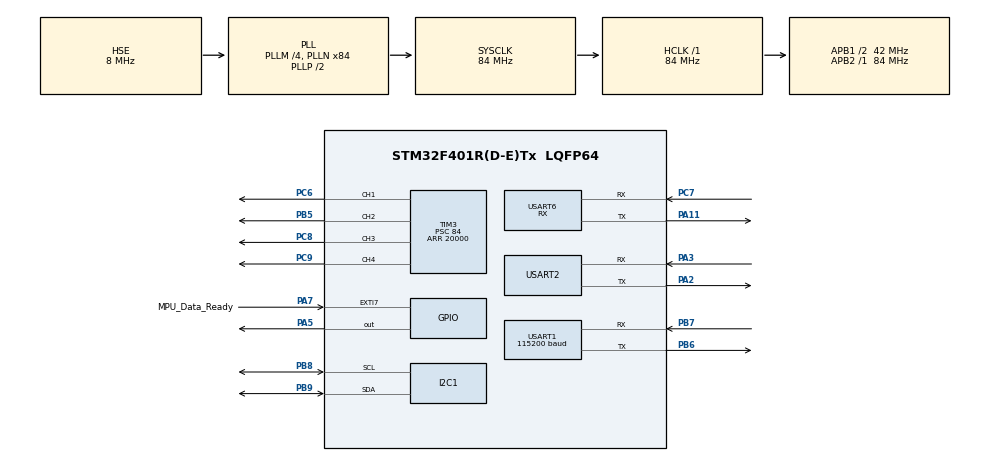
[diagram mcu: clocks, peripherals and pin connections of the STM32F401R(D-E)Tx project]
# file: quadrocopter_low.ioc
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Dma.I2C1_RX.2.Direction=DMA_PERIPH_TO_MEMORY
Dma.I2C1_RX.2.FIFOMode=DMA_FIFOMODE_DISABLE
Dma.I2C1_RX.2.Instance=DMA1_Stream0
Dma.I2C1_RX.2.MemDataAlignment=DMA_MDATAALIGN_BYTE
Dma.I2C1_RX.2.MemInc=DMA_MINC_ENABLE
Dma.I2C1_RX.2.Mode=DMA_NORMAL
Dma.I2C1_RX.2.PeriphDataAlignment=DMA_PDATAALIGN_BYTE
Dma.I2C1_RX.2.PeriphInc=DMA_PINC_DISABLE
Dma.I2C1_RX.2.Priority=DMA_PRIORITY_LOW
Dma.I2C1_TX.3.Direction=DMA_MEMORY_TO_PERIPH
Dma.I2C1_TX.3.FIFOMode=DMA_FIFOMODE_DISABLE
Dma.I2C1_TX.3.Instance=DMA1_Stream6
Dma.I2C1_TX.3.MemDataAlignment=DMA_MDATAALIGN_BYTE
Dma.I2C1_TX.3.MemInc=DMA_MINC_ENABLE
Dma.I2C1_TX.3.Mode=DMA_NORMAL
Dma.I2C1_TX.3.PeriphDataAlignment=DMA_PDATAALIGN_BYTE
Dma.I2C1_TX.3.PeriphInc=DMA_PINC_DISABLE
Dma.I2C1_TX.3.Priority=DMA_PRIORITY_LOW
Dma.Request0=USART6_RX
Dma.Request1=USART1_TX
Dma.Request2=I2C1_RX
Dma.Request3=I2C1_TX
Dma.USART1_TX.1.Direction=DMA_MEMORY_TO_PERIPH
Dma.USART1_TX.1.FIFOMode=DMA_FIFOMODE_DISABLE
Dma.USART1_TX.1.Instance=DMA2_Stream7
Dma.USART1_TX.1.MemDataAlignment=DMA_MDATAALIGN_BYTE
Dma.USART1_TX.1.MemInc=DMA_MINC_ENABLE
Dma.USART1_TX.1.Mode=DMA_NORMAL
Dma.USART1_TX.1.PeriphDataAlignment=DMA_PDATAALIGN_BYTE
Dma.USART1_TX.1.PeriphInc=DMA_PINC_DISABLE
Dma.USART1_TX.1.Priority=DMA_PRIORITY_LOW
Dma.USART6_RX.0.Direction=DMA_PERIPH_TO_MEMORY
Dma.USART6_RX.0.FIFOMode=DMA_FIFOMODE_DISABLE
Dma.USART6_RX.0.Instance=DMA2_Stream1
Dma.USART6_RX.0.MemDataAlignment=DMA_MDATAALIGN_BYTE
Dma.USART6_RX.0.MemInc=DMA_MINC_ENABLE
Dma.USART6_RX.0.Mode=DMA_NORMAL
Dma.USART6_RX.0.PeriphDataAlignment=DMA_PDATAALIGN_BYTE
Dma.USART6_RX.0.PeriphInc=DMA_PINC_DISABLE
Dma.USART6_RX.0.Priority=DMA_PRIORITY_LOW
FREERTOS.Events01=newSensorDataAvailable,Dynamic,NULL;newDataAvailableForController,Dynamic,NULL;newUARTDataAvailable,Dynamic,NULL;debuggUARTisFree,Dynamic,NULL;i2cDataRecieved,Dynamic,NULL;i2cDataTransmitted,Dynamic,NULL;i2cMemTransmitted,Dynamic,NULL
FREERTOS.HEAP_NUMBER=4
FREERTOS.Queues01=sensorData,100,sensor_data_type,0,Dynamic,NULL,NULL;controllData,100,controll_data_type,0,Dynamic,NULL,NULL;controllMasterData,100,ControllSignal_data_type,0,Dynamic,NULL,NULL
FREERTOS.Tasks01=sensorProcessin,27,300,StartSensorProcessingTask,Default,NULL,Dynamic,NULL,NULL;motorDriver,29,300,StartMotorDriverTask,Default,NULL,Dynamic,NULL,NULL;controllerTask,20,300,StartControllerTask,Default,NULL,Dynamic,NULL,NULL;controllMaster,38,128,StartControllMaster,Default,NULL,Dynamic,NULL,NULL;UARTLogger,16,128,StartUARTLogger,Default,NULL,Dynamic,NULL,NULL
FREERTOS.configCHECK_FOR_STACK_OVERFLOW=2
FREERTOS.configENABLE_FPU=1
FREERTOS.configGENERATE_RUN_TIME_STATS=1
FREERTOS.configRECORD_STACK_HIGH_ADDRESS=1
FREERTOS.configTOTAL_HEAP_SIZE=0x3c00
FREERTOS.configUSE_DAEMON_TASK_STARTUP_HOOK=0
FREERTOS.configUSE_IDLE_HOOK=1
FREERTOS.configUSE_MALLOC_FAILED_HOOK=1
FREERTOS.configUSE_STATS_FORMATTING_FUNCTIONS=1
FREERTOS.configUSE_TRACE_FACILITY=1
Mcu.Family=STM32F4
Mcu.Name=STM32F401R(D-E)Tx
Mcu.Package=LQFP64
NVIC.DMA1_Stream0_IRQn=true\:5\:0\:false\:false\:true\:true\:false\:true\:true
NVIC.DMA1_Stream6_IRQn=true\:5\:0\:false\:false\:true\:true\:false\:true\:true
NVIC.DMA2_Stream1_IRQn=true\:5\:0\:false\:false\:true\:true\:false\:true\:true
NVIC.DMA2_Stream7_IRQn=true\:5\:0\:false\:false\:true\:true\:false\:true\:true
NVIC.EXTI9_5_IRQn=true\:5\:0\:false\:false\:true\:true\:true\:true\:true
NVIC.I2C1_ER_IRQn=true\:5\:0\:false\:false\:true\:true\:true\:true\:true
NVIC.I2C1_EV_IRQn=true\:5\:0\:false\:false\:true\:true\:true\:true\:true
NVIC.PriorityGroup=NVIC_PRIORITYGROUP_4
NVIC.TIM1_TRG_COM_TIM11_IRQn=true\:5\:0\:false\:false\:true\:true\:true\:true\:true
NVIC.TIM1_UP_TIM10_IRQn=true\:15\:0\:true\:false\:true\:false\:false\:true\:true
NVIC.TimeBase=TIM1_UP_TIM10_IRQn
NVIC.TimeBaseIP=TIM10
NVIC.USART1_IRQn=true\:5\:0\:false\:false\:true\:true\:true\:true\:true
NVIC.USART2_IRQn=true\:5\:0\:true\:false\:true\:true\:true\:true\:true
NVIC.USART6_IRQn=true\:5\:0\:true\:false\:true\:true\:true\:true\:true
PA11.Mode=Asynchronous
PA11.Signal=USART6_TX
PA13.Mode=Serial_Wire
PA13.Signal=SYS_JTMS-SWDIO
PA14.Mode=Serial_Wire
PA14.Signal=SYS_JTCK-SWCLK
PA2.Mode=Asynchronous
PA2.Signal=USART2_TX
PA3.Mode=Asynchronous
PA3.Signal=USART2_RX
PA5.Signal=GPIO_Output
PA7.GPIO_Label=MPU_Data_Ready
PA7.Signal=GPXTI7
PB5.Signal=S_TIM3_CH2
PB6.Mode=Asynchronous
PB6.Signal=USART1_TX
PB7.Mode=Asynchronous
PB7.Signal=USART1_RX
PB8.Mode=I2C
PB8.Signal=I2C1_SCL
PB9.Mode=I2C
PB9.Signal=I2C1_SDA
PC14-OSC32_IN.Mode=LSE-External-Oscillator
PC14-OSC32_IN.Signal=RCC_OSC32_IN
PC15-OSC32_OUT.Mode=LSE-External-Oscillator
PC15-OSC32_OUT.Signal=RCC_OSC32_OUT
PC6.Signal=S_TIM3_CH1
PC7.Mode=Asynchronous
PC7.Signal=USART6_RX
PC8.Signal=S_TIM3_CH3
PC9.Signal=S_TIM3_CH4
PH0\ -\ OSC_IN.Mode=HSE-External-Clock-Source
PH0\ -\ OSC_IN.Signal=RCC_OSC_IN
PH1\ -\ OSC_OUT.Mode=HSE-External-Clock-Source
PH1\ -\ OSC_OUT.Signal=RCC_OSC_OUT
ProjectManager.HeapSize=0x200
ProjectManager.StackSize=0x400
ProjectManager.TargetToolchain=CMake
RCC.48MHZClocksFreq_Value=42000000
RCC.AHBFreq_Value=84000000
RCC.APB1CLKDivider=RCC_HCLK_DIV2
RCC.APB1Freq_Value=42000000
RCC.APB1TimFreq_Value=84000000
RCC.APB2Freq_Value=84000000
RCC.APB2TimFreq_Value=84000000
RCC.CortexFreq_Value=84000000
RCC.HCLKFreq_Value=84000000
RCC.HSE_Timout=2000
RCC.HSE_VALUE=8000000
RCC.HSI_VALUE=16000000
RCC.PLLM=4
RCC.PLLN=84
RCC.PLLSourceVirtual=RCC_PLLSOURCE_HSE
RCC.RCC_RTC_Clock_Source=RCC_RTCCLKSOURCE_LSI
RCC.RCC_RTC_Clock_SourceVirtual=RCC_RTCCLKSOURCE_LSI
RCC.SYSCLKFreq_VALUE=84000000
RCC.SYSCLKSource=RCC_SYSCLKSOURCE_PLLCLK
RCC.VCOOutputFreq_Value=168000000
SH.S_TIM3_CH1.0=TIM3_CH1,PWM Generation1 CH1
SH.S_TIM3_CH2.0=TIM3_CH2,PWM Generation2 CH2
SH.S_TIM3_CH3.0=TIM3_CH3,PWM Generation3 CH3
SH.S_TIM3_CH4.0=TIM3_CH4,PWM Generation4 CH4
TIM11.Period=839
TIM11.Prescaler=1
TIM3.Channel-PWM\ Generation1\ CH1=TIM_CHANNEL_1
TIM3.Channel-PWM\ Generation2\ CH2=TIM_CHANNEL_2
TIM3.Channel-PWM\ Generation3\ CH3=TIM_CHANNEL_3
TIM3.Channel-PWM\ Generation4\ CH4=TIM_CHANNEL_4
TIM3.Period=20000
TIM3.Prescaler=84
TIM3.Pulse-PWM\ Generation1\ CH1=1000
TIM3.Pulse-PWM\ Generation2\ CH2=1000
TIM3.Pulse-PWM\ Generation3\ CH3=1000
TIM3.Pulse-PWM\ Generation4\ CH4=1000
USART1.BaudRate=115200
USART1.VirtualMode=VM_ASYNC
USART2.VirtualMode=VM_ASYNC
USART6.Mode=MODE_RX
USART6.VirtualMode=VM_ASYNC
VP_FREERTOS_VS_CMSIS_V2.Mode=CMSIS_V2
VP_SYS_VS_tim10.Mode=TIM10
VP_TIM11_VS_ClockSourceINT.Mode=Enable_Timer
board=custom

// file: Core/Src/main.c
/* USER CODE BEGIN Header */
/**
  ******************************************************************************
  * @file           : main.c
  * @brief          : Main program body
  ******************************************************************************
  * @attention
  *
  * Copyright (c) 2024 STMicroelectronics.
  * All rights reserved.
  *
  * This software is licensed under terms that can be found in the LICENSE file
  * in the root directory of this software component.
  * If no LICENSE file comes with this software, it is provided AS-IS.
  *
  ******************************************************************************
  */
#include "sensor_master.hpp"
extern "C"
{
/* USER CODE END Header */
#include "main.h"
#include "cmsis_os.h"

/* USER CODE BEGIN Includes */
}
#include "PID.hpp"
#include "parameters.hpp"
#include "data_types.hpp"
#include "controll_master.hpp"
#include "motor_controller.hpp"
/* USER CODE END Includes */

/* USER CODE BEGIN PM */
//#define UART_DEBUGG
/* USER CODE END PM */

I2C_HandleTypeDef hi2c1;
DMA_HandleTypeDef hdma_i2c1_rx;
DMA_HandleTypeDef hdma_i2c1_tx;

TIM_HandleTypeDef htim3;
TIM_HandleTypeDef htim11;

UART_HandleTypeDef huart1;
UART_HandleTypeDef huart2;
UART_HandleTypeDef huart6;
DMA_HandleTypeDef hdma_usart1_tx;
DMA_HandleTypeDef hdma_usart6_rx;

/* Definitions for sensorProcessin */
osThreadId_t sensorProcessinHandle;
const osThreadAttr_t sensorProcessin_attributes = {
  .name = "sensorProcessin",
  .stack_size = 300 * 4,
  .priority = (osPriority_t) osPriorityNormal3,
};
/* Definitions for motorDriver */
osThreadId_t motorDriverHandle;
const osThreadAttr_t motorDriver_attributes = {
  .name = "motorDriver",
  .stack_size = 300 * 4,
  .priority = (osPriority_t) osPriorityNormal5,
};
/* Definitions for controllerTask */
osThreadId_t controllerTaskHandle;
const osThreadAttr_t controllerTask_attributes = {
  .name = "controllerTask",
  .stack_size = 300 * 4,
  .priority = (osPriority_t) osPriorityBelowNormal4,
};
/* Definitions for controllMaster */
osThreadId_t controllMasterHandle;
const osThreadAttr_t controllMaster_attributes = {
  .name = "controllMaster",
  .stack_size = 128 * 4,
  .priority = (osPriority_t) osPriorityAboveNormal6,
};
/* Definitions for UARTLogger */
osThreadId_t UARTLoggerHandle;
const osThreadAttr_t UARTLogger_attributes = {
  .name = "UARTLogger",
  .stack_size = 128 * 4,
  .priority = (osPriority_t) osPriorityBelowNormal,
};
/* Definitions for sensorData */
osMessageQueueId_t sensorDataHandle;
const osMessageQueueAttr_t sensorData_attributes = {
  .name = "sensorData"
};
/* Definitions for controllData */
osMessageQueueId_t controllDataHandle;
const osMessageQueueAttr_t controllData_attributes = {
  .name = "controllData"
};
/* Definitions for controllMasterData */
osMessageQueueId_t controllMasterDataHandle;
const osMessageQueueAttr_t controllMasterData_attributes = {
  .name = "controllMasterData"
};
/* Definitions for newSensorDataAvailable */
osEventFlagsId_t newSensorDataAvailableHandle;
const osEventFlagsAttr_t newSensorDataAvailable_attributes = {
  .name = "newSensorDataAvailable"
};
/* Definitions for newDataAvailableForController */
osEventFlagsId_t newDataAvailableForControllerHandle;
const osEventFlagsAttr_t newDataAvailableForController_attributes = {
  .name = "newDataAvailableForController"
};
/* Definitions for newUARTDataAvailable */
osEventFlagsId_t newUARTDataAvailableHandle;
const osEventFlagsAttr_t newUARTDataAvailable_attributes = {
  .name = "newUARTDataAvailable"
};
/* Definitions for debuggUARTisFree */
osEventFlagsId_t debuggUARTisFreeHandle;
const osEventFlagsAttr_t debuggUARTisFree_attributes = {
  .name = "debuggUARTisFree"
};
/* Definitions for i2cDataRecieved */
osEventFlagsId_t i2cDataRecievedHandle;
const osEventFlagsAttr_t i2cDataRecieved_attributes = {
  .name = "i2cDataRecieved"
};
/* Definitions for i2cDataTransmitted */
osEventFlagsId_t i2cDataTransmittedHandle;
const osEventFlagsAttr_t i2cDataTransmitted_attributes = {
  .name = "i2cDataTransmitted"
};
/* Definitions for i2cMemTransmitted */
osEventFlagsId_t i2cMemTransmittedHandle;
const osEventFlagsAttr_t i2cMemTransmitted_attributes = {
  .name = "i2cMemTransmitted"
};

void SystemClock_Config(void);
static void MX_DMA_Init(void);
static void MX_GPIO_Init(void);
static void MX_I2C1_Init(void);
static void MX_TIM3_Init(void);
static void MX_USART6_UART_Init(void);
static void MX_USART2_UART_Init(void);
static void MX_USART1_UART_Init(void);
static void MX_TIM11_Init(void);
void StartSensorProcessingTask(void *argument);
void StartMotorDriverTask(void *argument);
void StartControllerTask(void *argument);
void StartControllMaster(void *argument);
void StartUARTLogger(void *argument);

int main(void)
{

  /* MCU Configuration--------------------------------------------------------*/

  /* Reset of all peripherals, Initializes the Flash interface and the Systick. */
  HAL_Init();

  /* Configure the system clock */
  SystemClock_Config();

  /* Initialize all configured peripherals */
  MX_DMA_Init();
  MX_GPIO_Init();
  MX_I2C1_Init();
  MX_TIM3_Init();
  MX_USART6_UART_Init();
  MX_USART2_UART_Init();
  MX_USART1_UART_Init();
  MX_TIM11_Init();

  /* Init scheduler */
  osKernelInitialize();

  /* Create the queue(s) */
  /* creation of sensorData */
  sensorDataHandle = osMessageQueueNew (100, sizeof(sensor_data_type), &sensorData_attributes);

  /* creation of controllData */
  controllDataHandle = osMessageQueueNew (100, sizeof(controll_data_type), &controllData_attributes);

  /* creation of controllMasterData */
  controllMasterDataHandle = osMessageQueueNew (100, sizeof(ControllSignal_data_type), &controllMasterData_attributes);

  /* Create the thread(s) */
  /* creation of sensorProcessin */
  sensorProcessinHandle = osThreadNew(StartSensorProcessingTask, NULL, &sensorProcessin_attributes);

  /* creation of motorDriver */
  motorDriverHandle = osThreadNew(StartMotorDriverTask, NULL, &motorDriver_attributes);

  /* creation of controllerTask */
  controllerTaskHandle = osThreadNew(StartControllerTask, NULL, &controllerTask_attributes);

  /* creation of controllMaster */
  controllMasterHandle = osThreadNew(StartControllMaster, NULL, &controllMaster_attributes);

  /* creation of UARTLogger */
  UARTLoggerHandle = osThreadNew(StartUARTLogger, NULL, &UARTLogger_attributes);

  /* Create the event(s) */
  /* creation of newSensorDataAvailable */
  newSensorDataAvailableHandle = osEventFlagsNew(&newSensorDataAvailable_attributes);

  /* creation of newDataAvailableForController */
  newDataAvailableForControllerHandle = osEventFlagsNew(&newDataAvailableForController_attributes);

  /* creation of newUARTDataAvailable */
  newUARTDataAvailableHandle = osEventFlagsNew(&newUARTDataAvailable_attributes);

  /* creation of debuggUARTisFree */
  debuggUARTisFreeHandle = osEventFlagsNew(&debuggUARTisFree_attributes);

  /* creation of i2cDataRecieved */
  i2cDataRecievedHandle = osEventFlagsNew(&i2cDataRecieved_attributes);

  /* creation of i2cDataTransmitted */
  i2cDataTransmittedHandle = osEventFlagsNew(&i2cDataTransmitted_attributes);

  /* creation of i2cMemTransmitted */
  i2cMemTransmittedHandle = osEventFlagsNew(&i2cMemTransmitted_attributes);

  /* Start scheduler */
  osKernelStart();

  /* We should never get here as control is now taken by the scheduler */

  /* Infinite loop */
  while (1)
  {

  }
}

void SystemClock_Config(void)
{
  RCC_OscInitTypeDef RCC_OscInitStruct = {0};
  RCC_ClkInitTypeDef RCC_ClkInitStruct = {0};

  /** Configure the main internal regulator output voltage
  */
  __HAL_RCC_PWR_CLK_ENABLE();
  __HAL_PWR_VOLTAGESCALING_CONFIG(PWR_REGULATOR_VOLTAGE_SCALE2);

  /** Initializes the RCC Oscillators according to the specified parameters
  * in the RCC_OscInitTypeDef structure.
  */
  RCC_OscInitStruct.OscillatorType = RCC_OSCILLATORTYPE_HSE;
  RCC_OscInitStruct.HSEState = RCC_HSE_BYPASS;
  RCC_OscInitStruct.PLL.PLLState = RCC_PLL_ON;
  RCC_OscInitStruct.PLL.PLLSource = RCC_PLLSOURCE_HSE;
  RCC_OscInitStruct.PLL.PLLM = 4;
  RCC_OscInitStruct.PLL.PLLN = 84;
  RCC_OscInitStruct.PLL.PLLP = RCC_PLLP_DIV2;
  RCC_OscInitStruct.PLL.PLLQ = 4;
  if (HAL_RCC_OscConfig(&RCC_OscInitStruct) != HAL_OK)
  {
    Error_Handler();
  }

  /** Initializes the CPU, AHB and APB buses clocks
  */
  RCC_ClkInitStruct.ClockType = RCC_CLOCKTYPE_HCLK|RCC_CLOCKTYPE_SYSCLK
                              |RCC_CLOCKTYPE_PCLK1|RCC_CLOCKTYPE_PCLK2;
  RCC_ClkInitStruct.SYSCLKSource = RCC_SYSCLKSOURCE_PLLCLK;
  RCC_ClkInitStruct.AHBCLKDivider = RCC_SYSCLK_DIV1;
  RCC_ClkInitStruct.APB1CLKDivider = RCC_HCLK_DIV2;
  RCC_ClkInitStruct.APB2CLKDivider = RCC_HCLK_DIV1;

  if (HAL_RCC_ClockConfig(&RCC_ClkInitStruct, FLASH_LATENCY_2) != HAL_OK)
  {
    Error_Handler();
  }
}

static void MX_I2C1_Init(void)
{

  hi2c1.Instance = I2C1;
  hi2c1.Init.ClockSpeed = 100000;
  hi2c1.Init.DutyCycle = I2C_DUTYCYCLE_2;
  hi2c1.Init.OwnAddress1 = 0;
  hi2c1.Init.AddressingMode = I2C_ADDRESSINGMODE_7BIT;
  hi2c1.Init.DualAddressMode = I2C_DUALADDRESS_DISABLE;
  hi2c1.Init.OwnAddress2 = 0;
  hi2c1.Init.GeneralCallMode = I2C_GENERALCALL_DISABLE;
  hi2c1.Init.NoStretchMode = I2C_NOSTRETCH_DISABLE;
  if (HAL_I2C_Init(&hi2c1) != HAL_OK)
  {
    Error_Handler();
  }

}

static void MX_TIM3_Init(void)
{

  TIM_MasterConfigTypeDef sMasterConfig = {0};
  TIM_OC_InitTypeDef sConfigOC = {0};

  htim3.Instance = TIM3;
  htim3.Init.Prescaler = 84;
  htim3.Init.CounterMode = TIM_COUNTERMODE_UP;
  htim3.Init.Period = 20000;
  htim3.Init.ClockDivision = TIM_CLOCKDIVISION_DIV1;
  htim3.Init.AutoReloadPreload = TIM_AUTORELOAD_PRELOAD_DISABLE;
  if (HAL_TIM_PWM_Init(&htim3) != HAL_OK)
  {
    Error_Handler();
  }
  sMasterConfig.MasterOutputTrigger = TIM_TRGO_RESET;
  sMasterConfig.MasterSlaveMode = TIM_MASTERSLAVEMODE_DISABLE;
  if (HAL_TIMEx_MasterConfigSynchronization(&htim3, &sMasterConfig) != HAL_OK)
  {
    Error_Handler();
  }
  sConfigOC.OCMode = TIM_OCMODE_PWM1;
  sConfigOC.Pulse = 1000;
  sConfigOC.OCPolarity = TIM_OCPOLARITY_HIGH;
  sConfigOC.OCFastMode = TIM_OCFAST_DISABLE;
  if (HAL_TIM_PWM_ConfigChannel(&htim3, &sConfigOC, TIM_CHANNEL_1) != HAL_OK)
  {
    Error_Handler();
  }
  if (HAL_TIM_PWM_ConfigChannel(&htim3, &sConfigOC, TIM_CHANNEL_2) != HAL_OK)
  {
    Error_Handler();
  }
  if (HAL_TIM_PWM_ConfigChannel(&htim3, &sConfigOC, TIM_CHANNEL_3) != HAL_OK)
  {
    Error_Handler();
  }
  if (HAL_TIM_PWM_ConfigChannel(&htim3, &sConfigOC, TIM_CHANNEL_4) != HAL_OK)
  {
    Error_Handler();
  }
  HAL_TIM_MspPostInit(&htim3);

}

static void MX_TIM11_Init(void)
{

  htim11.Instance = TIM11;
  htim11.Init.Prescaler = 1;
  htim11.Init.CounterMode = TIM_COUNTERMODE_UP;
  htim11.Init.Period = 839;
  htim11.Init.ClockDivision = TIM_CLOCKDIVISION_DIV1;
  htim11.Init.AutoReloadPreload = TIM_AUTORELOAD_PRELOAD_DISABLE;
  if (HAL_TIM_Base_Init(&htim11) != HAL_OK)
  {
    Error_Handler();
  }

}

static void MX_USART1_UART_Init(void)
{

  huart1.Instance = USART1;
  huart1.Init.BaudRate = 115200;
  huart1.Init.WordLength = UART_WORDLENGTH_8B;
  huart1.Init.StopBits = UART_STOPBITS_1;
  huart1.Init.Parity = UART_PARITY_NONE;
  huart1.Init.Mode = UART_MODE_TX_RX;
  huart1.Init.HwFlowCtl = UART_HWCONTROL_NONE;
  huart1.Init.OverSampling = UART_OVERSAMPLING_16;
  if (HAL_UART_Init(&huart1) != HAL_OK)
  {
    Error_Handler();
  }

}

static void MX_USART2_UART_Init(void)
{

  huart2.Instance = USART2;
  huart2.Init.BaudRate = 115200;
  huart2.Init.WordLength = UART_WORDLENGTH_8B;
  huart2.Init.StopBits = UART_STOPBITS_1;
  huart2.Init.Parity = UART_PARITY_NONE;
  huart2.Init.Mode = UART_MODE_TX_RX;
  huart2.Init.HwFlowCtl = UART_HWCONTROL_NONE;
  huart2.Init.OverSampling = UART_OVERSAMPLING_16;
  if (HAL_UART_Init(&huart2) != HAL_OK)
  {
    Error_Handler();
  }

}

static void MX_USART6_UART_Init(void)
{

  huart6.Instance = USART6;
  huart6.Init.BaudRate = 115200;
  huart6.Init.WordLength = UART_WORDLENGTH_8B;
  huart6.Init.StopBits = UART_STOPBITS_1;
  huart6.Init.Parity = UART_PARITY_NONE;
  huart6.Init.Mode = UART_MODE_RX;
  huart6.Init.HwFlowCtl = UART_HWCONTROL_NONE;
  huart6.Init.OverSampling = UART_OVERSAMPLING_16;
  if (HAL_UART_Init(&huart6) != HAL_OK)
  {
    Error_Handler();
  }

}

static void MX_DMA_Init(void)
{

  /* DMA controller clock enable */
  __HAL_RCC_DMA2_CLK_ENABLE();
  __HAL_RCC_DMA1_CLK_ENABLE();

  /* DMA interrupt init */
  /* DMA1_Stream0_IRQn interrupt configuration */
  HAL_NVIC_SetPriority(DMA1_Stream0_IRQn, 5, 0);
  HAL_NVIC_EnableIRQ(DMA1_Stream0_IRQn);
  /* DMA1_Stream6_IRQn interrupt configuration */
  HAL_NVIC_SetPriority(DMA1_Stream6_IRQn, 5, 0);
  HAL_NVIC_EnableIRQ(DMA1_Stream6_IRQn);
  /* DMA2_Stream1_IRQn interrupt configuration */
  HAL_NVIC_SetPriority(DMA2_Stream1_IRQn, 5, 0);
  HAL_NVIC_EnableIRQ(DMA2_Stream1_IRQn);
  /* DMA2_Stream7_IRQn interrupt configuration */
  HAL_NVIC_SetPriority(DMA2_Stream7_IRQn, 5, 0);
  HAL_NVIC_EnableIRQ(DMA2_Stream7_IRQn);

}

static void MX_GPIO_Init(void)
{
  GPIO_InitTypeDef GPIO_InitStruct = {0};

  /* GPIO Ports Clock Enable */
  __HAL_RCC_GPIOC_CLK_ENABLE();
  __HAL_RCC_GPIOH_CLK_ENABLE();
  __HAL_RCC_GPIOA_CLK_ENABLE();
  __HAL_RCC_GPIOB_CLK_ENABLE();

  /*Configure GPIO pin Output Level */
  HAL_GPIO_WritePin(GPIOA, GPIO_PIN_5, GPIO_PIN_RESET);

  /*Configure GPIO pin : PA5 */
  GPIO_InitStruct.Pin = GPIO_PIN_5;
  GPIO_InitStruct.Mode = GPIO_MODE_OUTPUT_PP;
  GPIO_InitStruct.Pull = GPIO_NOPULL;
  GPIO_InitStruct.Speed = GPIO_SPEED_FREQ_LOW;
  HAL_GPIO_Init(GPIOA, &GPIO_InitStruct);

  /*Configure GPIO pin : MPU_Data_Ready_Pin */
  GPIO_InitStruct.Pin = MPU_Data_Ready_Pin;
  GPIO_InitStruct.Mode = GPIO_MODE_IT_RISING;
  GPIO_InitStruct.Pull = GPIO_NOPULL;
  HAL_GPIO_Init(MPU_Data_Ready_GPIO_Port, &GPIO_InitStruct);

  /* EXTI interrupt init*/
  HAL_NVIC_SetPriority(EXTI9_5_IRQn, 5, 0);
  HAL_NVIC_EnableIRQ(EXTI9_5_IRQn);

}

/* USER CODE BEGIN 4 */
void HAL_GPIO_EXTI_Callback(uint16_t GPIO_Pin)
{
  if(newSensorDataAvailableHandle != NULL)
  {
    osEventFlagsSet(newSensorDataAvailableHandle, 0x00000001U);
  }
}

static uint32_t GPIO_UART_ALIVE_LED = 0;

uint8_t Rx_data[50];
void HAL_UART_RxCpltCallback(UART_HandleTypeDef *huart)
{
  if (huart == &huart6)
  {
    if (GPIO_UART_ALIVE_LED == 60)
    {
      HAL_GPIO_TogglePin (GPIOA, GPIO_PIN_5);
      GPIO_UART_ALIVE_LED =0;
    }
    else
    {
        GPIO_UART_ALIVE_LED++;
    }
    if(newUARTDataAvailableHandle != NULL)
    {
      osEventFlagsSet(newUARTDataAvailableHandle, 0x00000001U);
    }
  }

}

void HAL_UART_TxCpltCallback(UART_HandleTypeDef *huart)
{
    if(debuggUARTisFreeHandle != NULL)
    {
      osEventFlagsSet(debuggUARTisFreeHandle, 0x00000001U);
    }
}

void HAL_I2C_MasterTxCpltCallback(I2C_HandleTypeDef *I2cHandle)
{
  if(i2cDataTransmittedHandle != NULL)
  {
    osEventFlagsSet(i2cDataTransmittedHandle, 0x00000001U);
  }

}

void HAL_I2C_MasterRxCpltCallback(I2C_HandleTypeDef *I2cHandle)
{
  if(i2cDataRecievedHandle != NULL)
  {
    osEventFlagsSet(i2cDataRecievedHandle, 0x00000001U);
  }
}

void HAL_I2C_MemTxCpltCallback(I2C_HandleTypeDef *I2cHandle)
{
  if(i2cMemTransmittedHandle != NULL)
  {
    osEventFlagsSet(i2cMemTransmittedHandle, 0x00000001U);
  }
}

/* USER CODE END 4 */

/* USER CODE BEGIN Header_StartSensorProcessingTask */
/**
  * @brief  Function implementing the sensorProcessin thread.
  * @param  argument: Not used
  * @retval None
  */
  sensor_data_type servo_angle_for_queue;
/* USER CODE END Header_StartSensorProcessingTask */
void StartSensorProcessingTask(void *argument)
{
  /* USER CODE BEGIN 5 */
  sensormaster::SensorProcessing sensor_processor(&hi2c1);
  for(;;)
  {
    uint16_t newSensorDataReady;
    osEventFlagsWait(newSensorDataAvailableHandle, 0x00000001U, osFlagsWaitAny, osWaitForever);

    servo_angle_for_queue.sampple_time = HAL_GetTick();
    sensor_processor.sensor_data_processing();

    servo_angle_for_queue.angle_pitch   = SENSOR_OFFSET + sensor_processor.get_filtered_angle_x();
    servo_angle_for_queue.angle_roll    = SENSOR_OFFSET + sensor_processor.get_filtered_angle_y();

    //TODO Fix the magnetometer config
    // sensor_processor.magnetometer_sensor_data_processing();
    // servo_angle_for_queue.angle_yaw = sensor_processor.get_magnetometer_yaw();

    // to do cleamn up

    osMessageQueuePut(sensorDataHandle, &servo_angle_for_queue, 0U, 1000);

    if(newDataAvailableForControllerHandle != NULL)
    {
      osEventFlagsSet(newDataAvailableForControllerHandle, NEW_DATA_FORM_SENSOR);
    }
  }
  /* USER CODE END 5 */
}

/* USER CODE BEGIN Header_StartMotorDriverTask */
/**
* @brief Function implementing the motorDriver thread.
* @param argument: Not used
* @retval None
*/
uint16_t debug_var = 0;
/* USER CODE END Header_StartMotorDriverTask */
void StartMotorDriverTask(void *argument)
{
  /* USER CODE BEGIN StartMotorDriverTask */
  /* Infinite loop */
  HAL_TIM_PWM_Start(&htim3, TIM_CHANNEL_1);
  HAL_TIM_PWM_Start(&htim3, TIM_CHANNEL_2);
  HAL_TIM_PWM_Start(&htim3, TIM_CHANNEL_3);
  HAL_TIM_PWM_Start(&htim3, TIM_CHANNEL_4);
  motor_controller::Motor_controller motor_calculation_master;
  #ifdef UART_DEBUGG
    UartLogger* Logger =  UartLogger::getUartLoggerSingeleton(&huart1);
  #endif

  for(;;)
  {
    controll_data_type controll_Date_from_queue;
    osMessageQueueGet(controllDataHandle, &controll_Date_from_queue, NULL, 1000);

    bldc_driver_data_type bldc_driver = motor_calculation_master.update_motor_driver(controll_Date_from_queue);

    #ifdef UART_DEBUGG
      Logger->add_data_logger("\n\rM1");
      Logger->add_data_logger(int32_t (MOTOR_IDDLE_TICK + bldc_driver.motor_1));
      Logger->add_data_logger("\n\rM2");
      Logger->add_data_logger(int32_t (MOTOR_IDDLE_TICK + bldc_driver.motor_2));
      Logger->add_data_logger("\n\rM3");
      Logger->add_data_logger(int32_t (MOTOR_IDDLE_TICK + bldc_driver.motor_3));
      Logger->add_data_logger("\n\rM4");
      Logger->add_data_logger(int32_t (MOTOR_IDDLE_TICK + bldc_driver.motor_4));
    #endif

    __HAL_TIM_SetCompare(&htim3, TIM_CHANNEL_1, MOTOR_IDDLE_TICK + bldc_driver.motor_1);
    __HAL_TIM_SetCompare(&htim3, TIM_CHANNEL_2, MOTOR_IDDLE_TICK + bldc_driver.motor_2);
    __HAL_TIM_SetCompare(&htim3, TIM_CHANNEL_3, MOTOR_IDDLE_TICK + bldc_driver.motor_3);
    __HAL_TIM_SetCompare(&htim3, TIM_CHANNEL_4, MOTOR_IDDLE_TICK + bldc_driver.motor_4);
  }
  /* USER CODE END StartMotorDriverTask */
}

/* USER CODE BEGIN Header_StartControllerTask */
/**
* @brief Function implementing the controllerTask thread.
* @param argument: Not used
* @retval None
*/
controll_data_type contrull_Data_for_queue;
ControllSignal_data_type decoded_UART_message_from_queue;
sensor_data_type servo_angle_from_queue_buffer;
sensor_data_type servo_angle_from_queue;
float sampple_time_buffer;
/* USER CODE END Header_StartControllerTask */
void StartControllerTask(void *argument)
{
   /* USER CODE BEGIN StartcontrollerTask */
  PID_controller PID_pitch(PITCH_P,PITCH_I,PITCH_D, HAL_GetTick());
  PID_controller PID_roll(ROLL_P,ROLL_I,ROLL_D, HAL_GetTick());
  PID_controller_yaw PID_yaw(YAW_P,YAW_I,YAW_D, HAL_GetTick());
  #ifdef UART_DEBUGG
    UartLogger* Logger =  UartLogger::getUartLoggerSingeleton(&huart1);
  #endif
    /* Infinite loop */
  for(;;)
  {
   uint32_t message_status = osEventFlagsWait(newDataAvailableForControllerHandle, NEW_DATA_FORM_SENSOR|NEW_DATA_FORM_CONTROLL, osFlagsWaitAny, osWaitForever);

    if (message_status | NEW_DATA_FORM_SENSOR)
    {
      osMessageQueueGet(sensorDataHandle, &servo_angle_from_queue_buffer, NULL, 0);
      servo_angle_from_queue = servo_angle_from_queue_buffer;
    }

    if (message_status | NEW_DATA_FORM_CONTROLL)
    {
      osMessageQueueGet(controllMasterDataHandle, &decoded_UART_message_from_queue, NULL, 0);
      contrull_Data_for_queue.PID_controll_state = decoded_UART_message_from_queue.state;
    }

    if (sampple_time_buffer != servo_angle_from_queue.sampple_time)
    {

      contrull_Data_for_queue.angle_pitch   = PID_pitch.get_PID_controll_signal(decoded_UART_message_from_queue.angle_pitch, servo_angle_from_queue.angle_pitch, servo_angle_from_queue.sampple_time, decoded_UART_message_from_queue.state, decoded_UART_message_from_queue.acceleration);
      contrull_Data_for_queue.angle_roll    = PID_roll.get_PID_controll_signal(decoded_UART_message_from_queue.angle_roll, servo_angle_from_queue.angle_roll, servo_angle_from_queue.sampple_time, decoded_UART_message_from_queue.state, decoded_UART_message_from_queue.acceleration);
      contrull_Data_for_queue.angle_yaw     = PID_yaw.get_PID_controll_signal(decoded_UART_message_from_queue.angle_yaw, servo_angle_from_queue.angle_yaw, servo_angle_from_queue.sampple_time, decoded_UART_message_from_queue.state, decoded_UART_message_from_queue.acceleration);
    }
    sampple_time_buffer = servo_angle_from_queue.sampple_time;
    contrull_Data_for_queue.acceleration = decoded_UART_message_from_queue.acceleration;

    #ifdef UART_DEBUGG
      Logger->add_data_logger("\n\rPi");
      Logger->add_data_logger(int32_t (servo_angle_from_queue.angle_pitch*LOGGING_MULTIPLIER));
      Logger->add_data_logger("\n\rRi");
      Logger->add_data_logger(int32_t (servo_angle_from_queue.angle_roll*LOGGING_MULTIPLIER));

      //Logger->add_data_logger("\n\rYi");
      //Logger->add_data_logger(int32_t (servo_angle_from_queue.angle_yaw*LOGGING_MULTIPLIER));

      Logger->add_data_logger("\n\rPo");
      Logger->add_data_logger(int32_t (contrull_Data_for_queue.angle_pitch*LOGGING_MULTIPLIER));
      Logger->add_data_logger("\n\rRo");
      Logger->add_data_logger(int32_t (contrull_Data_for_queue.angle_roll*LOGGING_MULTIPLIER));

      //Logger->add_data_logger("\n\rYo");
      //Logger->add_data_logger(int32_t (contrull_Data_for_queue.angle_yaw*LOGGING_MULTIPLIER));
    #endif

    osMessageQueuePut(controllDataHandle, &contrull_Data_for_queue, 0U, 1000);
  }
  /* USER CODE END StartControllerTask */
}

void StartControllMaster(void *argument)
{

  ControllMessageManeger UART_controll_master;
  /* USER CODE BEGIN StartControllMaster */
  HAL_UART_Receive_DMA (&huart6, Rx_data, IBUS_LENGTH);
  /* Infinite loop */
  for(;;)
  {

    osEventFlagsWait(newUARTDataAvailableHandle, 0x00000001U, osFlagsWaitAny, osWaitForever);
    ControllSignal_data_type decoded_UART_message = UART_controll_master.decode_new_message(Rx_data, IBUS_LENGTH);

    HAL_UART_Receive_DMA(&huart6, Rx_data, IBUS_LENGTH);
    osMessageQueuePut(controllMasterDataHandle, &decoded_UART_message, 0U, 1000);

    if(newDataAvailableForControllerHandle != NULL)
    {
      osEventFlagsSet(newDataAvailableForControllerHandle, NEW_DATA_FORM_CONTROLL);
    }
  }
  /* USER CODE END StartControllMaster */
}
extern unsigned long ulHighFrequencyTimerTicks;
extern "C"
{
void configureTimerForRunTimeStats(void)
{
    ulHighFrequencyTimerTicks = 0;
    HAL_TIM_Base_Start_IT(&htim11);
}

unsigned long getRunTimeCounterValue(void)
{
	return ulHighFrequencyTimerTicks;
}
}
void StartUARTLogger(void *argument)
{
  /* USER CODE BEGIN StartUARTLogger */
  /* Infinite loop */
    UartLogger *debugger_to_be_triggered = UartLogger::getUartLoggerSingeleton();
  for(;;)
  {
      osEventFlagsWait(debuggUARTisFreeHandle, 0x00000001U, osFlagsWaitAny, osWaitForever);
      debugger_to_be_triggered-> dataTransferFinished();
  }
  /* USER CODE END StartUARTLogger */
}

void HAL_TIM_PeriodElapsedCallback(TIM_HandleTypeDef *htim)
{
  if (htim->Instance == TIM10) {
    HAL_IncTick();
  }
}

void Error_Handler(void)
{
  __disable_irq();
  while (1)
  {
  }
}
